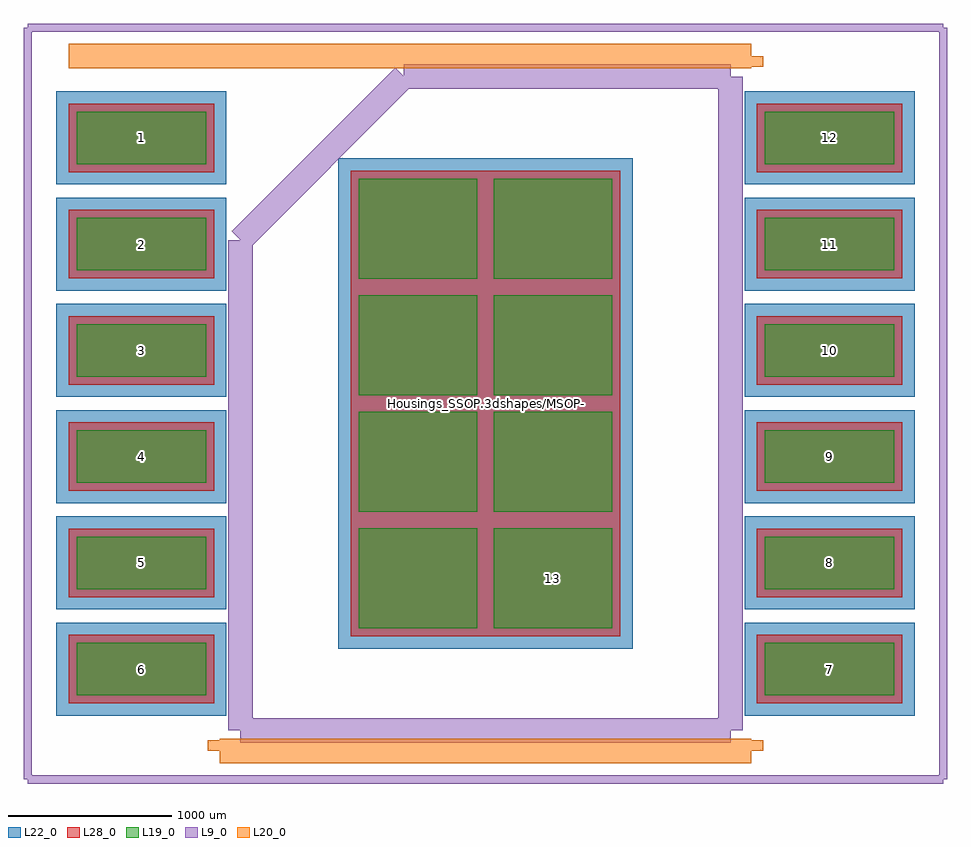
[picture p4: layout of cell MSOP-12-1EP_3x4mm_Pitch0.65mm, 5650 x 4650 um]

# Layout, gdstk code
import gdstk
lib = gdstk.Library(unit=1e-6, precision=1e-09)
def R(c, l, rs):  # rectangles x0, y0, x1, y1
    for r in rs: c.add(gdstk.rectangle(r[:2], r[2:], *l))
def A(c, l, x, y, w, h, nx, ny, dx, dy):  # array of equal rectangles
    R(c, l, [(x+i*dx, y+j*dy, x+i*dx+w, y+j*dy+h) for i in range(nx) for j in range(ny)])
L9_0 = (9, 0)
L19_0 = (19, 0)
L20_0 = (20, 0)
L22_0 = (22, 0)
L28_0 = (28, 0)

msop_12_1ep_3x4mm_pitch0 = lib.new_cell('MSOP-12-1EP_3x4mm_Pitch0.65mm')
A(msop_12_1ep_3x4mm_pitch0, L19_0, -2500, -1785, 790, 320, 1, 6, 0, 650)
A(msop_12_1ep_3x4mm_pitch0, L19_0, 1710, -1785, 790, 320, 1, 6, 0, 650)
A(msop_12_1ep_3x4mm_pitch0, L19_0, -775, -1375, 725, 612.5, 1, 4, 0, 712.5)
A(msop_12_1ep_3x4mm_pitch0, L19_0, 50, -1375, 725, 612.5, 1, 4, 0, 712.5)
A(msop_12_1ep_3x4mm_pitch0, L22_0, -2625, -1910, 1040, 570, 1, 6, 0, 650)
A(msop_12_1ep_3x4mm_pitch0, L22_0, 1585, -1910, 1040, 570, 1, 6, 0, 650)
A(msop_12_1ep_3x4mm_pitch0, L22_0, -900, -1500, 975, 862.5, 1, 4, 0, 712.5)
A(msop_12_1ep_3x4mm_pitch0, L22_0, -75, -1500, 975, 862.5, 1, 4, 0, 712.5)
A(msop_12_1ep_3x4mm_pitch0, L28_0, -2550, -1835, 890, 420, 1, 6, 0, 650)
A(msop_12_1ep_3x4mm_pitch0, L28_0, 1660, -1835, 890, 420, 1, 6, 0, 650)
A(msop_12_1ep_3x4mm_pitch0, L28_0, -825, -1425, 825, 712.5, 1, 4, 0, 712.5)
A(msop_12_1ep_3x4mm_pitch0, L28_0, 0, -1425, 825, 712.5, 1, 4, 0, 712.5)
msop_12_1ep_3x4mm_pitch0.add(gdstk.FlexPath([(-1625,2125),(-2550,2125)], 149.998, ends="flush", simple_path=True, layer=20, datatype=0))  # L20_0
msop_12_1ep_3x4mm_pitch0.add(gdstk.FlexPath([(-1625,-2125),(1625,-2125)], 149.998, ends="flush", simple_path=True, layer=20, datatype=0))  # L20_0
msop_12_1ep_3x4mm_pitch0.add(gdstk.FlexPath([(-1625,2125),(1625,2125)], 149.998, ends="flush", simple_path=True, layer=20, datatype=0))  # L20_0
msop_12_1ep_3x4mm_pitch0.add(gdstk.FlexPath([(-1625,-2125),(-1625,-2060)], 149.998, ends="flush", simple_path=True, layer=20, datatype=0))  # L20_0
msop_12_1ep_3x4mm_pitch0.add(gdstk.FlexPath([(1625,-2125),(1625,-2060)], 149.998, ends="flush", simple_path=True, layer=20, datatype=0))  # L20_0
msop_12_1ep_3x4mm_pitch0.add(gdstk.FlexPath([(1625,2125),(1625,2060)], 149.998, ends="flush", simple_path=True, layer=20, datatype=0))  # L20_0
msop_12_1ep_3x4mm_pitch0.add(gdstk.FlexPath([(-2800,-2300),(2800,-2300)], 50, ends="flush", simple_path=True, layer=9, datatype=0))  # L9_0
msop_12_1ep_3x4mm_pitch0.add(gdstk.FlexPath([(-2800,2300),(2800,2300)], 50, ends="flush", simple_path=True, layer=9, datatype=0))  # L9_0
msop_12_1ep_3x4mm_pitch0.add(gdstk.FlexPath([(2800,2300),(2800,-2300)], 50, ends="flush", simple_path=True, layer=9, datatype=0))  # L9_0
msop_12_1ep_3x4mm_pitch0.add(gdstk.FlexPath([(-2800,2300),(-2800,-2300)], 50, ends="flush", simple_path=True, layer=9, datatype=0))  # L9_0
msop_12_1ep_3x4mm_pitch0.add(gdstk.FlexPath([(-1500,1000),(-500,2000)], 149.998, ends="flush", simple_path=True, layer=9, datatype=0))  # L9_0
msop_12_1ep_3x4mm_pitch0.add(gdstk.FlexPath([(-1500,-2000),(-1500,1000)], 149.998, ends="flush", simple_path=True, layer=9, datatype=0))  # L9_0
msop_12_1ep_3x4mm_pitch0.add(gdstk.FlexPath([(1500,-2000),(-1500,-2000)], 149.998, ends="flush", simple_path=True, layer=9, datatype=0))  # L9_0
msop_12_1ep_3x4mm_pitch0.add(gdstk.FlexPath([(1500,2000),(1500,-2000)], 149.998, ends="flush", simple_path=True, layer=9, datatype=0))  # L9_0
msop_12_1ep_3x4mm_pitch0.add(gdstk.FlexPath([(-500,2000),(1500,2000)], 149.998, ends="flush", simple_path=True, layer=9, datatype=0))  # L9_0
msop_12_1ep_3x4mm_pitch0.add(gdstk.Label('Housings_SSOP.3dshapes/MSOP-12-1EP_3x4mm_Pitch0.65mm.wrl', (0,0), layer=12, texttype=0))
msop_12_1ep_3x4mm_pitch0.add(gdstk.Label('13', (412.5,-1068.75), layer=28, texttype=0))
msop_12_1ep_3x4mm_pitch0.add(gdstk.Label('12', (2105,1625), layer=28, texttype=0))
msop_12_1ep_3x4mm_pitch0.add(gdstk.Label('11', (2105,975), layer=28, texttype=0))
msop_12_1ep_3x4mm_pitch0.add(gdstk.Label('10', (2105,325), layer=28, texttype=0))
msop_12_1ep_3x4mm_pitch0.add(gdstk.Label('9', (2105,-325), layer=28, texttype=0))
msop_12_1ep_3x4mm_pitch0.add(gdstk.Label('8', (2105,-975), layer=28, texttype=0))
msop_12_1ep_3x4mm_pitch0.add(gdstk.Label('7', (2105,-1625), layer=28, texttype=0))
msop_12_1ep_3x4mm_pitch0.add(gdstk.Label('6', (-2105,-1625), layer=28, texttype=0))
msop_12_1ep_3x4mm_pitch0.add(gdstk.Label('5', (-2105,-975), layer=28, texttype=0))
msop_12_1ep_3x4mm_pitch0.add(gdstk.Label('4', (-2105,-325), layer=28, texttype=0))
msop_12_1ep_3x4mm_pitch0.add(gdstk.Label('3', (-2105,325), layer=28, texttype=0))
msop_12_1ep_3x4mm_pitch0.add(gdstk.Label('2', (-2105,975), layer=28, texttype=0))
msop_12_1ep_3x4mm_pitch0.add(gdstk.Label('1', (-2105,1625), layer=28, texttype=0))
msop_12_1ep_3x4mm_pitch0.add(gdstk.Label('type', (0,-3050), layer=9, texttype=0))
msop_12_1ep_3x4mm_pitch0.add(gdstk.Label('devicename', (0,3050), layer=9, texttype=0))

lib.write_gds('MSOP-12-1EP_3x4mm_Pitch0.65mm.gds')
